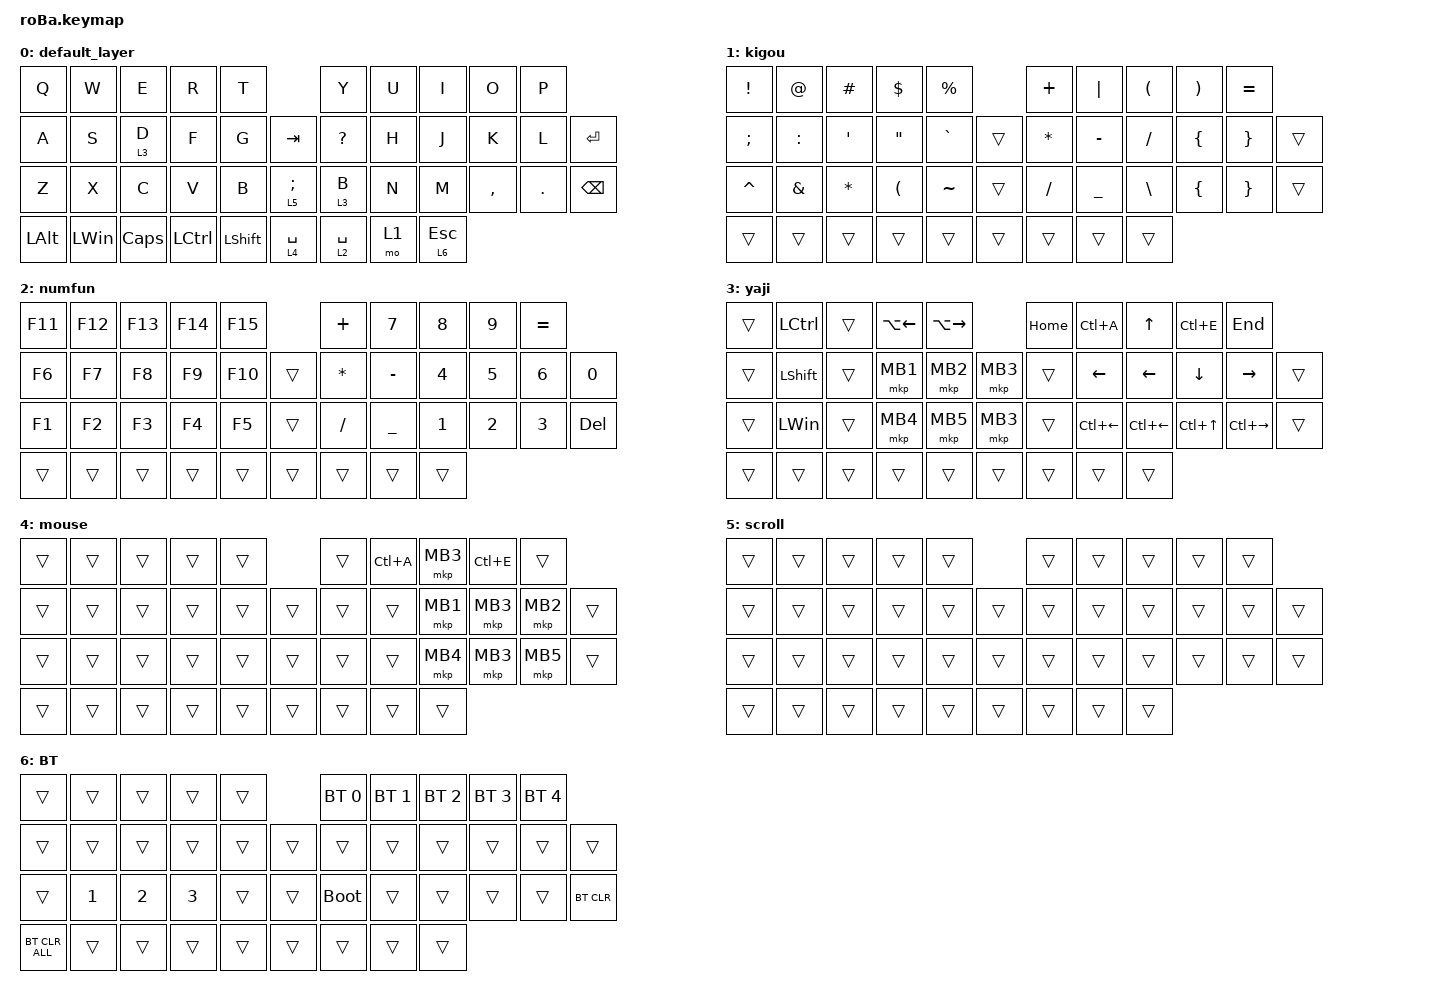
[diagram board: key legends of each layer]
#include <behaviors.dtsi>
#include <dt-bindings/zmk/bt.h>
#include <dt-bindings/zmk/keys.h>
#include <dt-bindings/zmk/pointing.h>

&mt {
flavor = "balanced";
quick-tap-ms = <0>;
};

&trackball {
automouse-layer = <4>;
scroll-layers = <5>;
};

/ {
macros {
to_layer_0: to_layer_0 {
compatible = "zmk,behavior-macro-one-param";
#binding-cells = <1>;
bindings = <&to 0 &macro_param_1to1 &kp MACRO_PLACEHOLDER>;
label = "TO_LAYER_0";
};
};

behaviors {
lt_to_layer_0: lt_to_layer_0 {
compatible = "zmk,behavior-hold-tap";
label = "LAYER_TAP_TO_0";
bindings = <&mo>, <&to_layer_0>;

#binding-cells = <2>;
tapping-term-ms = <200>;
};
};

keymap {
compatible = "zmk,keymap";

default_layer {
bindings = <
&kp Q &kp W &kp E &kp R &kp T &kp Y &kp U &kp I &kp O &kp P
&kp A &kp S &lt 3 D &kp F &kp G &kp TAB &kp QUESTION &kp H &kp J &kp K &kp L &kp RETURN
&kp Z &kp X &kp C &kp V &kp B &lt 5 SEMICOLON &lt_to_layer_0 3 B &kp N &kp M &kp COMMA &kp DOT &kp BACKSPACE
&kp LALT &kp LEFT_WIN &kp CAPSLOCK &kp LCTRL &kp LSHIFT &lt_to_layer_0 4 SPACE &lt_to_layer_0 2 SPACE &mo 1 &lt 6 ESCAPE
>;
};

kigou {
bindings = <
&kp EXCLAMATION &kp AT_SIGN &kp HASH &kp DOLLAR &kp PERCENT &kp PLUS &kp PIPE &kp LEFT_PARENTHESIS &kp RIGHT_PARENTHESIS &kp EQUAL
&kp SEMICOLON &kp COLON &kp SQT &kp DOUBLE_QUOTES &kp GRAVE &trans &kp ASTERISK &kp MINUS &kp SLASH &kp LEFT_BRACE &kp RIGHT_BRACE &trans
&kp CARET &kp AMPERSAND &kp ASTERISK &kp LEFT_PARENTHESIS &kp TILDE &trans &kp SLASH &kp UNDERSCORE &kp BACKSLASH &kp LEFT_BRACE &kp RIGHT_BRACE &trans
&trans &trans &trans &trans &trans &trans &trans &trans &trans
>;
};

numfun {
bindings = <
&kp F11 &kp F12 &kp F13 &kp F14 &kp F15 &kp PLUS &kp N7 &kp N8 &kp N9 &kp EQUAL
&kp F6 &kp F7 &kp F8 &kp F9 &kp F10 &trans &kp ASTERISK &kp MINUS &kp N4 &kp N5 &kp N6 &kp N0
&kp F1 &kp F2 &kp F3 &kp F4 &kp F5 &trans &kp SLASH &kp UNDERSCORE &kp N1 &kp N2 &kp N3 &kp DELETE
&trans &trans &trans &trans &trans &trans &trans &trans &trans
>;
};

yaji {
bindings = <
&trans &kp LCTRL &trans &kp LA(LEFT_ARROW) &kp LA(RIGHT_ARROW) &kp HOME &kp LC(A) &kp UP_ARROW &kp LC(E) &kp END
&trans &kp LSHIFT &trans &mkp MB1 &mkp MB2 &mkp MB3 &trans &kp LEFT_ARROW &kp LEFT_ARROW &kp DOWN_ARROW &kp RIGHT_ARROW &trans
&trans &kp LEFT_WIN &trans &mkp MB4 &mkp MB5 &mkp MB3 &trans &kp LC(LEFT_ARROW) &kp LC(LEFT_ARROW) &kp LC(UP_ARROW) &kp LC(RIGHT_ARROW) &trans
&trans &trans &trans &trans &trans &trans &trans &trans &trans
>;
};

mouse {
bindings = <
&trans &trans &trans &trans &trans &trans &kp LC(A) &mkp MB3 &kp LC(E) &trans
&trans &trans &trans &trans &trans &trans &trans &trans &mkp MB1 &mkp MB3 &mkp MB2 &trans
&trans &trans &trans &trans &trans &trans &trans &trans &mkp MB4 &mkp MB3 &mkp MB5 &trans
&trans &trans &trans &trans &trans &trans &trans &trans &trans
>;
};

scroll {
bindings = <
&trans &trans &trans &trans &trans &trans &trans &trans &trans &trans
&trans &trans &trans &trans &trans &trans &trans &trans &trans &trans &trans &trans
&trans &trans &trans &trans &trans &trans &trans &trans &trans &trans &trans &trans
&trans &trans &trans &trans &trans &trans &trans &trans &trans
>;
};

BT {
bindings = <
&trans &trans &trans &trans &trans &bt BT_SEL 0 &bt BT_SEL 1 &bt BT_SEL 2 &bt BT_SEL 3 &bt BT_SEL 4
&trans &trans &trans &trans &trans &trans &trans &trans &trans &trans &trans &trans
&trans &kp N1 &kp N2 &kp N3 &trans &trans &bootloader &trans &trans &trans &trans &bt BT_CLR
&bt BT_CLR_ALL &trans &trans &trans &trans &trans &trans &trans &trans
>;
};
};
};
